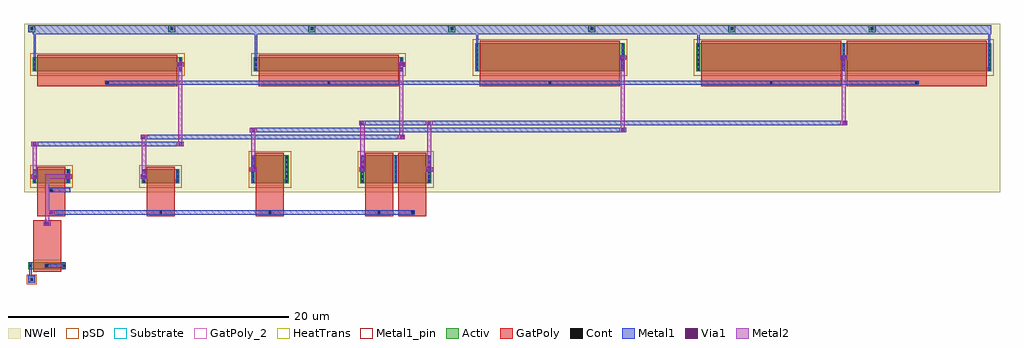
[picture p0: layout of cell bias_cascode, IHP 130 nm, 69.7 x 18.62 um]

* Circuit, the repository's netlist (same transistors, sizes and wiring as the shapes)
* bias_cascode module — LVS schematic (expanded for ng>1)
* From sim/_soilz_full.sp

.subckt bias_cascode vcas cas_ref cas1 cas2 cas3 src1 src2 src3 net_c1 gnd vdd
MMN_cas_load vcas vcas gnd gnd sg13_lv_nmos w=0.5u l=2u ng=1 m=1
MPM_cas_diode vcas vcas cas_ref vdd sg13_lv_pmos w=1u l=2u ng=1 m=1
MPM_cas1 src1 vcas cas1 vdd sg13_lv_pmos w=1u l=2u ng=1 m=1
MPM_cas2 src2 vcas cas2 vdd sg13_lv_pmos w=2u l=2u ng=1 m=1
* PM_cas3 ng=2 expanded
MPM_cas3_0 src3 vcas cas3 vdd sg13_lv_pmos w=2u l=2u ng=1 m=1
MPM_cas3_1 cas3 vcas src3 vdd sg13_lv_pmos w=2u l=2u ng=1 m=1
MPM_cas_ref cas_ref net_c1 vdd vdd sg13_lv_pmos w=1u l=10u ng=1 m=1
MPM_mir1 cas1 net_c1 vdd vdd sg13_lv_pmos w=1u l=10u ng=1 m=1
MPM_mir2 cas2 net_c1 vdd vdd sg13_lv_pmos w=2u l=10u ng=1 m=1
* PM_mir3 ng=2 expanded
MPM_mir3_0 cas3 net_c1 vdd vdd sg13_lv_pmos w=2u l=10u ng=1 m=1
MPM_mir3_1 vdd net_c1 cas3 vdd sg13_lv_pmos w=2u l=10u ng=1 m=1
.ends bias_cascode

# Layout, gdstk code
import gdstk
lib = gdstk.Library(unit=1e-6, precision=1e-09)
def R(c, l, rs):  # rectangles x0, y0, x1, y1
    for r in rs: c.add(gdstk.rectangle(r[:2], r[2:], *l))
def A(c, l, x, y, w, h, nx, ny, dx, dy):  # array of equal rectangles
    R(c, l, [(x+i*dx, y+j*dy, x+i*dx+w, y+j*dy+h) for i in range(nx) for j in range(ny)])
Activ = (1, 0)
GatPoly = (5, 0)
GatPoly_2 = (5, 2)
Cont = (6, 0)
Metal1 = (8, 0)
Metal1_pin = (8, 2)
Metal2 = (10, 0)
pSD = (14, 0)
Via1 = (19, 0)
NWell = (31, 0)
Substrate = (40, 0)
HeatTrans = (51, 0)

nmos = lib.new_cell('nmos')
R(nmos, Activ, [(0,0,0.3,0.3), (0,0,2.68,0.5), (2.38,0,2.68,0.3)])
R(nmos, GatPoly, [(0.34,-0.18,2.34,0.68)])
R(nmos, GatPoly_2, [(0.34,-0.18,2.34,0.68)])
R(nmos, Cont, [(0.07,0.17,0.23,0.33), (2.45,0.17,2.61,0.33)])
R(nmos, Metal1, [(0.07,0,0.23,0.5), (2.45,0,2.61,0.5)])
R(nmos, Metal1_pin, [(0.07,0,0.23,0.5), (2.45,0,2.61,0.5)])
R(nmos, HeatTrans, [(0.34,-0.18,2.34,0.68)])
nmos.add(gdstk.Label('nmos', (1.34,0.25), layer=63, texttype=0))
nmos.add(gdstk.Label('nmos', (1.34,0.25), layer=51, texttype=0))

pmos = lib.new_cell('pmos')
R(pmos, Activ, [(0,0,0.3,0.3), (0,0,2.68,1), (2.38,0,2.68,0.3)])
R(pmos, GatPoly, [(0.34,-0.18,2.34,1.18), (0.34,-0.18,2.34,1.18)])
A(pmos, Cont, 0.07, 0.07, 0.16, 0.16, 1, 3, 0, 0.35)
A(pmos, Cont, 2.45, 0.07, 0.16, 0.16, 1, 3, 0, 0.35)
R(pmos, Metal1, [(0.07,0,0.23,1), (0.07,0,0.23,1), (2.45,0,2.61,1), (2.45,0,2.61,1)])
R(pmos, pSD, [(-0.18,-0.3,2.86,1.3)])
R(pmos, NWell, [(-0.31,-0.31,2.99,1.31)])
R(pmos, Substrate, [(2.38,0,2.68,0.3)])
R(pmos, HeatTrans, [(0.34,-0.18,2.34,1.18)])
pmos.add(gdstk.Label('pmos', (1.34,0.5), layer=63, texttype=0))
pmos.add(gdstk.Label('pmos', (1.34,0.5), layer=51, texttype=0))

pmos_1 = lib.new_cell('pmos$1')
R(pmos_1, Activ, [(0,0,0.3,0.3), (0,0,2.68,2), (2.38,0,2.68,0.3)])
R(pmos_1, GatPoly, [(0.34,-0.18,2.34,2.18), (0.34,-0.18,2.34,2.18)])
A(pmos_1, Cont, 0.07, 0.07, 0.16, 0.16, 1, 6, 0, 0.34)
A(pmos_1, Cont, 2.45, 0.07, 0.16, 0.16, 1, 6, 0, 0.34)
R(pmos_1, Metal1, [(0.07,0,0.23,2), (0.07,0,0.23,2), (2.45,0,2.61,2), (2.45,0,2.61,2)])
R(pmos_1, pSD, [(-0.18,-0.3,2.86,2.3)])
R(pmos_1, NWell, [(-0.31,-0.31,2.99,2.31)])
R(pmos_1, Substrate, [(2.38,0,2.68,0.3)])
R(pmos_1, HeatTrans, [(0.34,-0.18,2.34,2.18)])
pmos_1.add(gdstk.Label('pmos', (1.34,1), layer=63, texttype=0))
pmos_1.add(gdstk.Label('pmos', (1.34,1), layer=51, texttype=0))

pmos_2 = lib.new_cell('pmos$2')
A(pmos_2, Activ, 0, 0, 0.3, 0.3, 3, 1, 2.38, 0)
R(pmos_2, Activ, [(0,0,5.06,2)])
R(pmos_2, GatPoly, [(0.34,-0.18,2.34,2.18), (0.34,-0.18,2.34,2.18), (2.72,-0.18,4.72,2.18)])
A(pmos_2, Cont, 0.07, 0.07, 0.16, 0.16, 3, 6, 2.38, 0.34)
R(pmos_2, Metal1, [(0.07,0,0.23,2), (0.07,0,0.23,2), (2.45,0,2.61,2), (2.45,0,2.61,2), (4.83,0,4.99,2)])
R(pmos_2, pSD, [(-0.18,-0.3,5.24,2.3)])
R(pmos_2, NWell, [(-0.31,-0.31,5.37,2.31)])
R(pmos_2, Substrate, [(4.76,0,5.06,0.3)])
R(pmos_2, HeatTrans, [(0.34,-0.18,2.34,2.18), (2.72,-0.18,4.72,2.18)])
pmos_2.add(gdstk.Label('pmos', (1.34,1), layer=63, texttype=0))
pmos_2.add(gdstk.Label('pmos', (1.34,1), layer=51, texttype=0))
pmos_2.add(gdstk.Label('pmos', (3.72,1), layer=51, texttype=0))

pmos_3 = lib.new_cell('pmos$3')
R(pmos_3, Activ, [(0,0,0.3,0.3), (0,0,10.68,1), (10.38,0,10.68,0.3)])
R(pmos_3, GatPoly, [(0.34,-0.18,10.34,1.18), (0.34,-0.18,10.34,1.18)])
A(pmos_3, Cont, 0.07, 0.07, 0.16, 0.16, 1, 3, 0, 0.35)
A(pmos_3, Cont, 10.45, 0.07, 0.16, 0.16, 1, 3, 0, 0.35)
R(pmos_3, Metal1, [(0.07,0,0.23,1), (0.07,0,0.23,1), (10.45,0,10.61,1), (10.45,0,10.61,1)])
R(pmos_3, pSD, [(-0.18,-0.3,10.86,1.3)])
R(pmos_3, NWell, [(-0.31,-0.31,10.99,1.31)])
R(pmos_3, Substrate, [(10.38,0,10.68,0.3)])
R(pmos_3, HeatTrans, [(0.34,-0.18,10.34,1.18)])
pmos_3.add(gdstk.Label('pmos', (5.34,0.5), layer=63, texttype=0))
pmos_3.add(gdstk.Label('pmos', (5.34,0.5), layer=51, texttype=0))

pmos_4 = lib.new_cell('pmos$4')
R(pmos_4, Activ, [(0,0,0.3,0.3), (0,0,10.68,2), (10.38,0,10.68,0.3)])
R(pmos_4, GatPoly, [(0.34,-0.18,10.34,2.18), (0.34,-0.18,10.34,2.18)])
A(pmos_4, Cont, 0.07, 0.07, 0.16, 0.16, 1, 6, 0, 0.34)
A(pmos_4, Cont, 10.45, 0.07, 0.16, 0.16, 1, 6, 0, 0.34)
R(pmos_4, Metal1, [(0.07,0,0.23,2), (0.07,0,0.23,2), (10.45,0,10.61,2), (10.45,0,10.61,2)])
R(pmos_4, pSD, [(-0.18,-0.3,10.86,2.3)])
R(pmos_4, NWell, [(-0.31,-0.31,10.99,2.31)])
R(pmos_4, Substrate, [(10.38,0,10.68,0.3)])
R(pmos_4, HeatTrans, [(0.34,-0.18,10.34,2.18)])
pmos_4.add(gdstk.Label('pmos', (5.34,1), layer=63, texttype=0))
pmos_4.add(gdstk.Label('pmos', (5.34,1), layer=51, texttype=0))

pmos_5 = lib.new_cell('pmos$5')
A(pmos_5, Activ, 0, 0, 0.3, 0.3, 3, 1, 10.38, 0)
R(pmos_5, Activ, [(0,0,21.06,2)])
R(pmos_5, GatPoly, [(0.34,-0.18,10.34,2.18), (0.34,-0.18,10.34,2.18), (10.72,-0.18,20.72,2.18)])
A(pmos_5, Cont, 0.07, 0.07, 0.16, 0.16, 3, 6, 10.38, 0.34)
R(pmos_5, Metal1, [(0.07,0,0.23,2), (0.07,0,0.23,2), (10.45,0,10.61,2), (10.45,0,10.61,2), (20.83,0,20.99,2)])
R(pmos_5, pSD, [(-0.18,-0.3,21.24,2.3)])
R(pmos_5, NWell, [(-0.31,-0.31,21.37,2.31)])
R(pmos_5, Substrate, [(20.76,0,21.06,0.3)])
R(pmos_5, HeatTrans, [(0.34,-0.18,10.34,2.18), (10.72,-0.18,20.72,2.18)])
pmos_5.add(gdstk.Label('pmos', (5.34,1), layer=63, texttype=0))
pmos_5.add(gdstk.Label('pmos', (5.34,1), layer=51, texttype=0))
pmos_5.add(gdstk.Label('pmos', (15.72,1), layer=51, texttype=0))

bias_cascode = lib.new_cell('bias_cascode')
A(bias_cascode, Activ, 0, 17.12, 0.5, 0.5, 7, 1, 10, 0)
R(bias_cascode, Activ, [(0,-0.8,0.5,-0.3)])
A(bias_cascode, GatPoly, 0.65, 3.98, 2, 2.15, 4, 1, 7.8, 0)
A(bias_cascode, GatPoly, 0.65, 13.25, 10, 0.88, 4, 1, 15.8, 0)
R(bias_cascode, GatPoly, [(0.34,0.86,2.34,3.68), (26.43,3.98,28.43,6.13), (0.65,5.58,2.65,6.13), (58.43,13.25,68.43,14.13)])
A(bias_cascode, Cont, 1.57, 4.15, 0.16, 0.16, 4, 1, 7.8, 0)
A(bias_cascode, Cont, 5.57, 13.42, 0.16, 0.16, 4, 1, 15.8, 0)
A(bias_cascode, Cont, 0.17, 17.29, 0.16, 0.16, 7, 1, 10, 0)
R(bias_cascode, Cont, [(0.17,-0.63,0.33,-0.47), (1.26,0.35,1.42,0.51), (1.26,3.35,1.42,3.51), (27.35,4.15,27.51,4.31), (1.57,5.75,1.73,5.91), (63.35,13.42,63.51,13.58)])
A(bias_cascode, Metal1, 1.495, 4.075, 0.31, 0.31, 4, 1, 7.8, 0)
A(bias_cascode, Metal1, 5.495, 13.345, 0.31, 0.31, 4, 1, 15.8, 0)
A(bias_cascode, Metal1, 0, 17.12, 0.5, 0.5, 7, 1, 10, 0)
R(bias_cascode, Metal1, [(0,-0.8,0.5,-0.3), (0.07,-0.8,0.23,0.43), (1.185,0.275,2.685,0.585), (1.185,3.275,1.495,3.585), (1.185,3.275,1.495,3.585), (1.495,4.075,1.805,4.385), (1.495,4.075,27.585,4.385), (27.275,4.075,27.585,4.385), (1.495,5.675,1.805,5.985), (1.495,5.675,2.995,5.985), (0.305,6.655,0.615,6.965), (2.685,6.655,2.995,6.965), (8.105,6.655,8.415,6.965), (15.905,7.155,16.215,7.465), (23.705,7.155,24.015,7.465), (28.465,7.155,28.775,7.465), (0.305,8.965,0.615,9.275), (0.305,8.965,10.995,9.275), (10.685,8.965,10.995,9.275), (8.105,9.465,8.415,9.775), (8.105,9.465,26.795,9.775), (26.485,9.465,26.795,9.775), (15.905,9.965,16.215,10.275), (15.905,9.965,42.595,10.275), (42.285,9.965,42.595,10.275), (23.705,10.465,24.015,10.775), (23.705,10.465,58.395,10.775), (28.465,10.465,28.775,10.775), (58.085,10.465,58.395,10.775), (5.495,13.345,63.585,13.655), (63.275,13.345,63.585,13.655), (10.685,14.655,10.995,14.965), (26.485,14.655,26.795,14.965), (0.38,14.81,0.54,16.965), (16.18,14.81,16.34,16.965), (42.285,15.155,42.595,15.465), (58.085,15.155,58.395,15.465), (31.98,15.31,32.14,16.965), (47.78,15.31,47.94,16.965), (68.54,15.31,68.7,16.965), (0.305,16.965,68.775,17.275), (0.305,16.965,68.775,17.62)])
R(bias_cascode, Metal2, [(1.095,3.275,1.585,3.585), (1.19,3.275,1.49,6.965), (1.405,4.075,1.895,4.385), (0.215,6.655,0.705,6.965), (0.31,6.655,0.61,9.275), (1.19,6.655,2.99,6.965), (2.595,6.655,3.085,6.965), (8.015,6.655,8.505,6.965), (8.11,6.655,8.41,9.775), (15.815,7.155,16.305,7.465), (15.91,7.155,16.21,10.275), (23.615,7.155,24.105,7.465), (23.71,7.155,24.01,10.775), (28.375,7.155,28.865,7.465), (28.47,7.155,28.77,10.775), (0.215,8.965,0.705,9.275), (10.595,8.965,11.085,9.275), (10.69,8.965,10.99,14.965), (8.015,9.465,8.505,9.775), (26.395,9.465,26.885,9.775), (26.49,9.465,26.79,14.965), (15.815,9.965,16.305,10.275), (42.195,9.965,42.685,10.275), (42.29,9.965,42.59,15.465), (23.615,10.465,24.105,10.775), (28.375,10.465,28.865,10.775), (57.995,10.465,58.485,10.775), (58.09,10.465,58.39,15.465), (10.595,14.655,11.085,14.965), (26.395,14.655,26.885,14.965), (42.195,15.155,42.685,15.465), (57.995,15.155,58.485,15.465)])
R(bias_cascode, pSD, [(-0.1,-0.9,0.6,-0.2)])
R(bias_cascode, Via1, [(1.245,3.335,1.435,3.525), (1.555,4.135,1.745,4.325), (0.365,6.715,0.555,6.905), (2.745,6.715,2.935,6.905), (8.165,6.715,8.355,6.905), (15.965,7.215,16.155,7.405), (23.765,7.215,23.955,7.405), (28.525,7.215,28.715,7.405), (0.365,9.025,0.555,9.215), (10.745,9.025,10.935,9.215), (8.165,9.525,8.355,9.715), (26.545,9.525,26.735,9.715), (15.965,10.025,16.155,10.215), (42.345,10.025,42.535,10.215), (23.765,10.525,23.955,10.715), (28.525,10.525,28.715,10.715), (58.145,10.525,58.335,10.715), (10.745,14.715,10.935,14.905), (26.545,14.715,26.735,14.905), (42.345,15.215,42.535,15.405), (58.145,15.215,58.335,15.405)])
R(bias_cascode, NWell, [(-0.31,5.69,69.39,17.72)])
bias_cascode.add(gdstk.Reference(nmos, (0,0.18)))
bias_cascode.add(gdstk.Reference(pmos, (0.31,6.31)))
bias_cascode.add(gdstk.Reference(pmos, (8.11,6.31)))
bias_cascode.add(gdstk.Reference(pmos_1, (15.91,6.31)))
bias_cascode.add(gdstk.Reference(pmos_2, (23.71,6.31)))
bias_cascode.add(gdstk.Reference(pmos_3, (0.31,14.31)))
bias_cascode.add(gdstk.Reference(pmos_3, (16.11,14.31)))
bias_cascode.add(gdstk.Reference(pmos_4, (31.91,14.31)))
bias_cascode.add(gdstk.Reference(pmos_5, (47.71,14.31)))

lib.write_gds('bias_cascode.gds')
